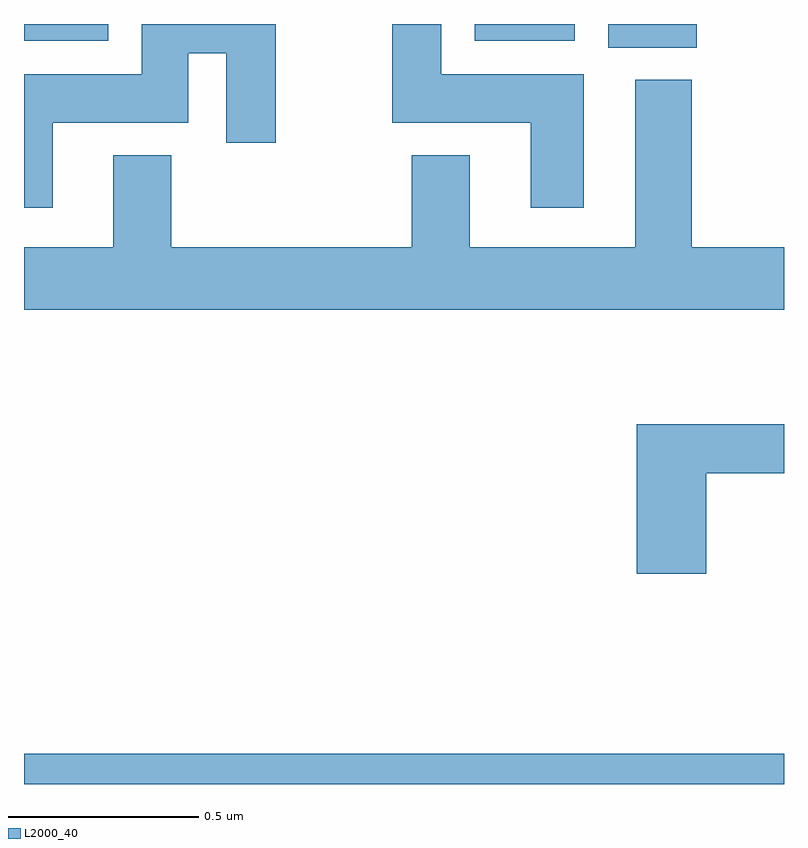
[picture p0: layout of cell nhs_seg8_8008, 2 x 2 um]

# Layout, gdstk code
import gdstk
lib = gdstk.Library(unit=1e-6, precision=1e-09)
def R(c, l, rs):  # rectangles x0, y0, x1, y1
    for r in rs: c.add(gdstk.rectangle(r[:2], r[2:], *l))
def P(c, l, *ps):  # polygons
    for p in ps: c.add(gdstk.Polygon(p, *l))
L2000_40 = (2000, 40)

nhs_seg8_8008 = lib.new_cell('nhs_seg8_8008')
R(nhs_seg8_8008, L2000_40, [(217,1133.9,219,1133.98), (218.537,1135.838,218.77,1135.9), (217,1135.856,217.222,1135.9), (218.186,1135.856,218.449,1135.9)])
P(nhs_seg8_8008, L2000_40, [(218.473,1135.768),(218.098,1135.768),(218.098,1135.9),(217.969,1135.9),(217.969,1135.64),(218.333,1135.64),(218.333,1135.416),(218.473,1135.416)],
  [(217.075,1135.64),(217.432,1135.64),(217.432,1135.823),(217.532,1135.823),(217.532,1135.587),(217.662,1135.587),(217.662,1135.9),(217.31,1135.9),(217.31,1135.768),(217,1135.768),(217,1135.416),(217.075,1135.416)],
  [(219,1135.312),(218.757,1135.312),(218.757,1135.753),(218.609,1135.753),(218.609,1135.312),(218.173,1135.312),(218.173,1135.555),(218.021,1135.555),(218.021,1135.312),(217.388,1135.312),(217.388,1135.555),(217.235,1135.555),(217.235,1135.312),(217,1135.312),(217,1135.148),(219,1135.148)],
  [(218.795,1134.718),(219,1134.718),(219,1134.847),(218.612,1134.847),(218.612,1134.453),(218.795,1134.453)])

lib.write_gds('nhs_seg8_8008.gds')
